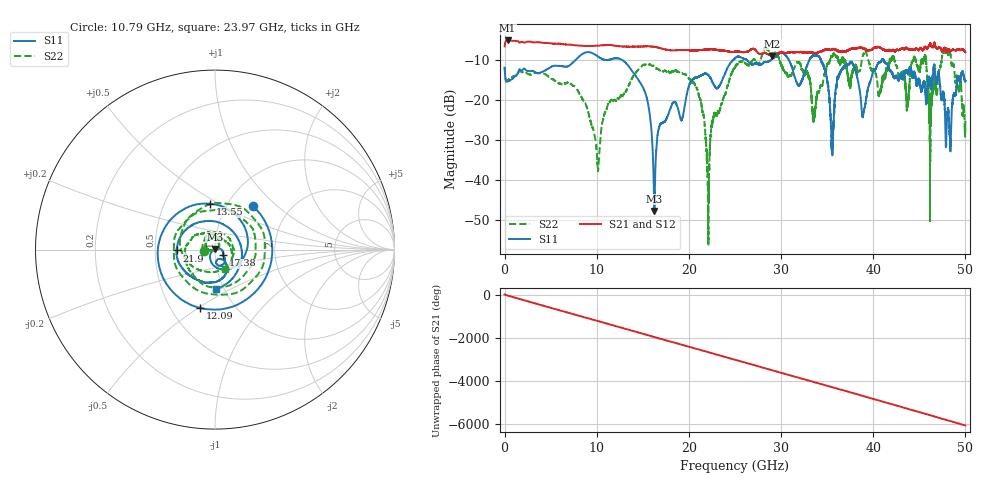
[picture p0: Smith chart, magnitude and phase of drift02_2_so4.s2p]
!Created with skrf (http://scikit-rf.org).
# Hz S RI R 50.0
!freq ReS11 ImS11 ReS21 ImS21 ReS12 ImS12 ReS22 ImS22
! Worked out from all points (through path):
!   10001 points, 300 kHz to 50 GHz, reference 50 ohm
!   highest |S21| = -5.04 dB at 325.3 MHz (marker M1); lowest = -8.9 dB at 29.05 GHz (marker M2)
!   group delay of S21, straight-line fit = 336 ps
!   lowest |S11| = -47.7 dB at 16.25 GHz (marker M3), VSWR 1.01, Z = 49.8 + j0.368 ohm
!   |S11| at or under -10 dB: start of sweep to 7.668 GHz; 12.81 GHz to 24.77 GHz (11.96 GHz wide, 63.6 % of centre); 41.14 GHz to end of sweep (the widest 3 of 13)
!   |S22| runs from -56.5 to -6.9 dB; largest |S21 - S12| = 0.031
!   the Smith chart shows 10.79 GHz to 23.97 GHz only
!   S11 on the Smith chart (normalised r, x): 10.79 GHz: 1.32, +0.71; 12.09 GHz: 0.69, -0.51; 13.55 GHz: 0.83, +0.45; 17.38 GHz: 1.09, -0.07; 21.9 GHz: 0.65, -0.01; 23.97 GHz: 0.92, -0.43
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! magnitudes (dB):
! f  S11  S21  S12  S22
! 300 kHz  -11.8  -6.5  -6.5  -11.8
! 325.3 MHz  -15.3  -5.0  -5.0  -15.1
! 8.335 GHz  -8.6  -6.4  -6.4  -19.2
! 10.11 GHz  -9.0  -6.3  -6.3  -36.9
! 10.79 GHz  -9.9  -6.2  -6.2  -23.9
! 12.09 GHz  -9.5  -6.4  -6.4  -20.1
! 13.55 GHz  -11.8  -6.6  -6.6  -16.0
! 16.25 GHz  -47.7  -6.6  -6.6  -11.6
! 16.67 GHz  -27.6  -6.8  -6.8  -12.2
! 17.38 GHz  -25.3  -7.3  -7.3  -12.6
! 20.75 GHz  -14.3  -7.5  -7.5  -16.8
! 21.9 GHz  -13.4  -7.3  -7.3  -32.0
! 23.97 GHz  -13.1  -7.7  -7.6  -18.3
! 25 GHz  -9.5  -7.9  -7.9  -11.7
! 29.05 GHz  -9.6  -8.9  -8.9  -8.2
! 33.34 GHz  -9.1  -8.0  -8.0  -20.1
! 35.54 GHz  -30.7  -7.3  -7.3  -9.0
! 36.79 GHz  -11.8  -7.8  -7.9  -9.9
! 41.67 GHz  -11.9  -7.4  -7.5  -11.7
! 46.25 GHz  -17.3  -6.1  -6.1  -22.3
! 48.1 GHz  -21.9  -7.4  -7.3  -8.5
! 50 GHz  -15.2  -8.0  -7.9  -26.1
